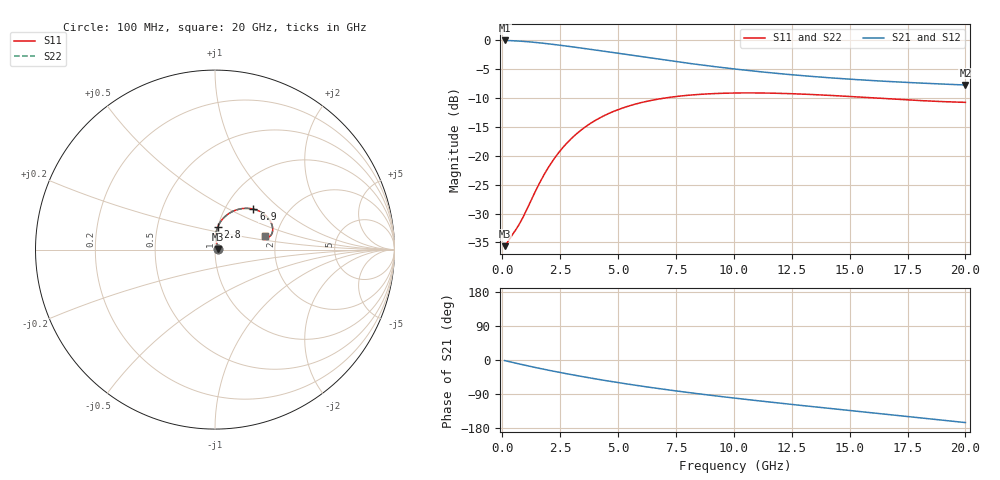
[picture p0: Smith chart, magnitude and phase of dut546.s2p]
! Touchstone file exported from HFSS 2024.1.0
!  File:  C:/UserFiles/LocalFiles/RDL_TSV_Batchsim/temp_RDL_TSV_546_1779748633.aedt
!  Generated:  06:52:57 AM May 26, 2026
!  Design:  RDL_TSV
!  Project:  temp_RDL_TSV_546_1779748633
!  Setup:  Setup1
!  Solution:  Sweep
! Variables:
!  dtsv = 7.5um
!  hbump = 3um
!  htsv = 60.38um
!  ldown = 474.34um
!  lrdl = 253.29um
!  p = 40
!  p1 = 54.75um
!  rhole = 10um
!  subl = 2436.18um
!  t = 450um
!  tdown = 2.19um
!  trdl = 2.99um
!  viad = 10um
!  wdown = 20.83um
!  wrdl = 28.97um
!  xbump = 18um
# GHz S MA R 50.000000
! Terminal data exported
! Port[1] = TM1_1_T1
! Port[2] = TM1_4_T1
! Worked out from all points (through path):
!   200 points, 100 MHz to 20 GHz, reference 50 ohm
!   highest |S21| = -0.14 dB at 100 MHz (marker M1); lowest = -7.8 dB at 20 GHz (marker M2)
!   group delay of S21, straight-line fit = 21.6 ps
!   lowest |S11| = -35.6 dB at 100 MHz (marker M3), VSWR 1.03, Z = 51.6 + j0.335 ohm
!   |S11| at or under -10 dB: start of sweep to 7.153 GHz; 15.82 GHz to end of sweep
!   |S22| runs from -35.6 to -9.2 dB; largest |S21 - S12| = 1.5e-14
!   S11 on the Smith chart (normalised r, x): 100 MHz: 1.03, +0.01; 2.8 GHz: 1.00, +0.26; 6.9 GHz: 1.35, +0.67; 20 GHz: 1.74, +0.29
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0.1  0.01653 11.3  0.9835 -1.5  0.9835 -1.5  0.01653 11.3
! Gamma 0 0 0 0
! Port Impedance 50 0 50 0
0.6  0.02319 48.2  0.9746 -8.6  0.9746 -8.6  0.02319 48.1
0.8  0.02703 59.6  0.9691 -11.4  0.9691 -11.4  0.02703 59.6
1.5  0.05248 83.3  0.9429 -20.7  0.9429 -20.7  0.05242 83.2
1.9  0.07377 86.5  0.9244 -25.8  0.9244 -25.8  0.07366 86.4
2.3  0.09761 86.0  0.9045 -30.6  0.9045 -30.6  0.09745 86.0
2.8  0.1288 82.9  0.8784 -36.5  0.8784 -36.5  0.1286 82.9
3.1  0.1474 80.4  0.8624 -39.9  0.8624 -39.9  0.1472 80.4
3.5  0.1716 76.7  0.8411 -44.3  0.8411 -44.3  0.1713 76.7
4.2  0.2107 69.8  0.8038 -51.6  0.8038 -51.6  0.2103 69.8
4.9  0.2445 63.1  0.7674 -58.6  0.7674 -58.6  0.244 63.1
5.8  0.2796 55.2  0.7225 -67.0  0.7225 -67.0  0.2792 55.1
6.8  0.3084 47.3  0.6763 -75.8  0.6763 -75.8  0.3079 47.3
6.9  0.3107 46.6  0.6719 -76.6  0.6719 -76.6  0.3102 46.5
8.4  0.3358 36.8  0.6117 -88.6  0.6117 -88.6  0.3352 36.8
10.1  0.3464 28.2  0.5562 -101.0  0.5562 -101.0  0.3458 28.2
11.7  0.345 22.1  0.515 -111.9  0.515 -111.9  0.3444 22.0
13.4  0.3359 17.4  0.4808 -123.0  0.4808 -123.0  0.3352 17.4
15  0.3233 14.6  0.4559 -133.3  0.4559 -133.3  0.3226 14.6
16.7  0.3086 13.3  0.4352 -144.0  0.4352 -144.0  0.3079 13.3
18.4  0.2956 13.7  0.4188 -154.8  0.4188 -154.8  0.2949 13.7
20  0.2877 15.4  0.4061 -165.1  0.4061 -165.1  0.287 15.4
